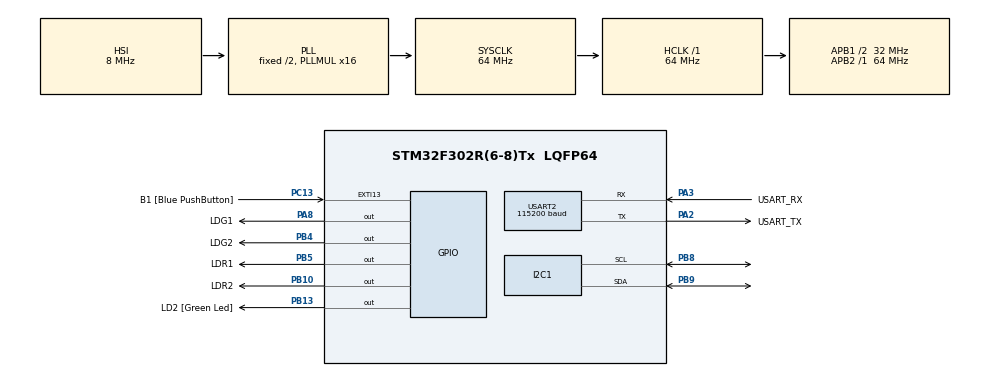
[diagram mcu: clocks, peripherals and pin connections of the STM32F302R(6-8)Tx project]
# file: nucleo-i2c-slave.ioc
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Dma.Request0=USART2_RX
Dma.USART2_RX.0.Direction=DMA_PERIPH_TO_MEMORY
Dma.USART2_RX.0.Instance=DMA1_Channel6
Dma.USART2_RX.0.MemDataAlignment=DMA_MDATAALIGN_BYTE
Dma.USART2_RX.0.MemInc=DMA_MINC_ENABLE
Dma.USART2_RX.0.Mode=DMA_CIRCULAR
Dma.USART2_RX.0.PeriphDataAlignment=DMA_PDATAALIGN_BYTE
Dma.USART2_RX.0.PeriphInc=DMA_PINC_DISABLE
Dma.USART2_RX.0.Priority=DMA_PRIORITY_MEDIUM
I2C1.OwnAddress=0x20
Mcu.Family=STM32F3
Mcu.Name=STM32F302R(6-8)Tx
Mcu.Package=LQFP64
NVIC.DMA1_Channel6_IRQn=true\:0\:0\:false\:false\:true\:false\:true
NVIC.EXTI15_10_IRQn=true\:0\:0\:false\:false\:true\:true\:true
NVIC.I2C1_ER_IRQn=true\:0\:0\:false\:false\:true\:true\:true
NVIC.I2C1_EV_IRQn=true\:0\:0\:false\:false\:true\:true\:true
NVIC.PriorityGroup=NVIC_PRIORITYGROUP_0
PA13.GPIO_Label=TMS
PA13.Mode=Serial_Wire
PA13.Signal=SYS_JTMS-SWDIO
PA14.GPIO_Label=TCK
PA14.Mode=Serial_Wire
PA14.Signal=SYS_JTCK-SWCLK
PA2.GPIO_Label=USART_TX
PA2.GPIO_Mode=GPIO_MODE_AF_PP
PA2.GPIO_PuPd=GPIO_NOPULL
PA2.GPIO_Speed=GPIO_SPEED_FREQ_LOW
PA2.Mode=Asynchronous
PA2.Signal=USART2_TX
PA3.GPIO_Label=USART_RX
PA3.GPIO_Mode=GPIO_MODE_AF_PP
PA3.GPIO_PuPd=GPIO_NOPULL
PA3.GPIO_Speed=GPIO_SPEED_FREQ_LOW
PA3.Mode=Asynchronous
PA3.Signal=USART2_RX
PA8.GPIO_Label=LDG1
PA8.Signal=GPIO_Output
PB10.GPIO_Label=LDR2
PB10.Signal=GPIO_Output
PB13.GPIO_Label=LD2 [Green Led]
PB13.Signal=GPIO_Output
PB3.GPIO_Label=SWO
PB3.Mode=Trace_Asynchronous_SW
PB3.Signal=SYS_JTDO-TRACESWO
PB4.GPIO_Label=LDG2
PB4.Signal=GPIO_Output
PB5.GPIO_Label=LDR1
PB5.Signal=GPIO_Output
PB8.GPIO_FM8=__NULL
PB8.Mode=I2C
PB8.Signal=I2C1_SCL
PB9.GPIO_FM9=__NULL
PB9.Mode=I2C
PB9.Signal=I2C1_SDA
PC13.GPIO_Label=B1 [Blue PushButton]
PC13.GPIO_ModeDefaultEXTI=GPIO_MODE_IT_FALLING
PC13.Signal=GPXTI13
PC14\ -\ OSC32_IN.Mode=LSE-External-Oscillator
PC14\ -\ OSC32_IN.Signal=RCC_OSC32_IN
PC15\ -\ OSC32_OUT.Mode=LSE-External-Oscillator
PC15\ -\ OSC32_OUT.Signal=RCC_OSC32_OUT
PF0-OSC_IN.Mode=HSE-External-Clock-Source
PF0-OSC_IN.Signal=RCC_OSC_IN
PF1-OSC_OUT.Signal=RCC_OSC_OUT
ProjectManager.HeapSize=0x200
ProjectManager.StackSize=0x400
ProjectManager.TargetToolchain=STM32CubeIDE
RCC.AHBFreq_Value=64000000
RCC.APB1CLKDivider=RCC_HCLK_DIV2
RCC.APB1Freq_Value=32000000
RCC.APB1TimFreq_Value=64000000
RCC.APB2Freq_Value=64000000
RCC.APB2TimFreq_Value=64000000
RCC.CortexFreq_Value=64000000
RCC.HCLKFreq_Value=64000000
RCC.HSE_VALUE=8000000
RCC.HSI_VALUE=8000000
RCC.PLLM=8
RCC.PLLMUL=RCC_PLL_MUL16
RCC.PLLN=336
RCC.PLLP=RCC_PLLP_DIV4
RCC.PLLQ=7
RCC.RCC_PLLsource_Clock_Source_FROM_HSE=RCC_HSE_PREDIV_DIV2
RCC.SYSCLKFreq_VALUE=64000000
RCC.SYSCLKSourceVirtual=RCC_SYSCLKSOURCE_PLLCLK
RCC.USBFreq_Value=64000000
USART2.BaudRate=115200
USART2.VirtualMode-Asynchronous=VM_ASYNC
board=NUCLEO-F302R8

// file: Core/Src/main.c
/* USER CODE BEGIN Header */
/**
  ******************************************************************************
  * @file           : main.c
  * @brief          : Main program body
  ******************************************************************************
  * @attention
  *
  * <h2><center>&copy; Copyright (c) 2023 STMicroelectronics.
  * All rights reserved.</center></h2>
  *
  * This software component is licensed by ST under BSD 3-Clause license,
  * the "License"; You may not use this file except in compliance with the
  * License. You may obtain a copy of the License at:
  *                        opensource.org/licenses/BSD-3-Clause
  *
  ******************************************************************************
  */
/* USER CODE END Header */
#include "main.h"

/* USER CODE BEGIN PD */
#define WHO_AM_I 0x10
#define OUT_X_L 0x21
#define OUT_X_H 0x22
#define OUT_Y_L 0x23
#define OUT_Y_H 0x24
#define OUT_Z_L 0x25
#define OUT_Z_H 0x26
#define OUT_TEMP_L 0x27
#define OUT_TEMP_H 0x28
#define SLAVE_WORKING
//#define SLAVE_EXPERIMENT

/* USER CODE END PD */

I2C_HandleTypeDef hi2c1;

UART_HandleTypeDef huart2;
DMA_HandleTypeDef hdma_usart2_rx;

void SystemClock_Config(void);
static void MX_GPIO_Init(void);
static void MX_DMA_Init(void);
static void MX_USART2_UART_Init(void);
static void MX_I2C1_Init(void);

/* USER CODE BEGIN 0 */
uint8_t AddrToData(uint8_t receive_addr);
uint8_t data_tx = 0xf8;
uint8_t uart_rx_buff[];
uint8_t receive_buff = 0;

volatile uint8_t transferRequested = 0;
volatile uint8_t transferDirection;
volatile uint16_t adc_raw_value = 0;
volatile uint8_t firstByteTransmitted = 0;
volatile uint8_t uartRxComplete = 0;

volatile uint8_t offset = 0;
volatile uint8_t slaveTxComplete = 0;

volatile uint8_t accXL = 0;
volatile uint8_t accXH = 0;
volatile uint8_t accYL = 0;
volatile uint8_t accYH = 0;
volatile uint8_t accZL = 0;
volatile uint8_t accZH = 0;

/* USER CODE END 0 */

int main(void)
{

  /* MCU Configuration--------------------------------------------------------*/

  /* Reset of all peripherals, Initializes the Flash interface and the Systick. */
  HAL_Init();

  /* Configure the system clock */
  SystemClock_Config();

  /* Initialize all configured peripherals */
  MX_GPIO_Init();
  MX_DMA_Init();
  MX_USART2_UART_Init();
  MX_I2C1_Init();
  /* USER CODE BEGIN 2 */

  // Receive 6 bytes to trigger UART Handler
  HAL_UART_Receive_DMA(&huart2, uart_rx_buff, 6);
  HAL_I2C_EnableListen_IT(&hi2c1);

  /* USER CODE END 2 */

  /* Infinite loop */
  while (1)
  {

    /* USER CODE BEGIN 3 */
	if (slaveTxComplete)
	{
		offset++;
		data_tx = AddrToData(receive_buff + offset);
		HAL_I2C_Slave_Seq_Transmit_IT(&hi2c1, &data_tx, 1, I2C_NEXT_FRAME); // sends the subsequent byte
		slaveTxComplete = 0;

	}

	if (transferRequested)
	{
		// master -> slave
		if(transferDirection  == I2C_DIRECTION_TRANSMIT)
		{
			HAL_I2C_Slave_Seq_Receive_IT(&hi2c1, &receive_buff, 1, I2C_NEXT_FRAME); // receives the starting register address
		}
		// slave -> master
		else
		{
			data_tx = AddrToData(receive_buff);
			HAL_I2C_Slave_Seq_Transmit_IT(&hi2c1, &data_tx, 1, I2C_NEXT_FRAME); // sends the first byte
			slaveTxComplete = 0;
		}
		transferRequested = 0;
	}

	if (uartRxComplete){
		// Get the received simulated values
		accXL = uart_rx_buff[0];
		accXH = uart_rx_buff[1];
		accYL = uart_rx_buff[2];
		accYH = uart_rx_buff[3];
		accZL = uart_rx_buff[4];
		accZH = uart_rx_buff[5];

		uartRxComplete = 0;
	}
  }
  /* USER CODE END 3 */
}

void SystemClock_Config(void)
{
  RCC_OscInitTypeDef RCC_OscInitStruct = {0};
  RCC_ClkInitTypeDef RCC_ClkInitStruct = {0};
  RCC_PeriphCLKInitTypeDef PeriphClkInit = {0};

  /** Initializes the RCC Oscillators according to the specified parameters
  * in the RCC_OscInitTypeDef structure.
  */
  RCC_OscInitStruct.OscillatorType = RCC_OSCILLATORTYPE_HSI;
  RCC_OscInitStruct.HSIState = RCC_HSI_ON;
  RCC_OscInitStruct.HSICalibrationValue = RCC_HSICALIBRATION_DEFAULT;
  RCC_OscInitStruct.PLL.PLLState = RCC_PLL_ON;
  RCC_OscInitStruct.PLL.PLLSource = RCC_PLLSOURCE_HSI;
  RCC_OscInitStruct.PLL.PLLMUL = RCC_PLL_MUL16;
  if (HAL_RCC_OscConfig(&RCC_OscInitStruct) != HAL_OK)
  {
    Error_Handler();
  }
  /** Initializes the CPU, AHB and APB buses clocks
  */
  RCC_ClkInitStruct.ClockType = RCC_CLOCKTYPE_HCLK|RCC_CLOCKTYPE_SYSCLK
                              |RCC_CLOCKTYPE_PCLK1|RCC_CLOCKTYPE_PCLK2;
  RCC_ClkInitStruct.SYSCLKSource = RCC_SYSCLKSOURCE_PLLCLK;
  RCC_ClkInitStruct.AHBCLKDivider = RCC_SYSCLK_DIV1;
  RCC_ClkInitStruct.APB1CLKDivider = RCC_HCLK_DIV2;
  RCC_ClkInitStruct.APB2CLKDivider = RCC_HCLK_DIV1;

  if (HAL_RCC_ClockConfig(&RCC_ClkInitStruct, FLASH_LATENCY_2) != HAL_OK)
  {
    Error_Handler();
  }
  PeriphClkInit.PeriphClockSelection = RCC_PERIPHCLK_I2C1;
  PeriphClkInit.I2c1ClockSelection = RCC_I2C1CLKSOURCE_HSI;
  if (HAL_RCCEx_PeriphCLKConfig(&PeriphClkInit) != HAL_OK)
  {
    Error_Handler();
  }
}

static void MX_I2C1_Init(void)
{

  hi2c1.Instance = I2C1;
  hi2c1.Init.Timing = 0x2000090E;
  hi2c1.Init.OwnAddress1 = 64;
  hi2c1.Init.AddressingMode = I2C_ADDRESSINGMODE_7BIT;
  hi2c1.Init.DualAddressMode = I2C_DUALADDRESS_DISABLE;
  hi2c1.Init.OwnAddress2 = 0;
  hi2c1.Init.OwnAddress2Masks = I2C_OA2_NOMASK;
  hi2c1.Init.GeneralCallMode = I2C_GENERALCALL_DISABLE;
  hi2c1.Init.NoStretchMode = I2C_NOSTRETCH_DISABLE;
  if (HAL_I2C_Init(&hi2c1) != HAL_OK)
  {
    Error_Handler();
  }
  /** Configure Analogue filter
  */
  if (HAL_I2CEx_ConfigAnalogFilter(&hi2c1, I2C_ANALOGFILTER_ENABLE) != HAL_OK)
  {
    Error_Handler();
  }
  /** Configure Digital filter
  */
  if (HAL_I2CEx_ConfigDigitalFilter(&hi2c1, 0) != HAL_OK)
  {
    Error_Handler();
  }

}

static void MX_USART2_UART_Init(void)
{

  huart2.Instance = USART2;
  huart2.Init.BaudRate = 115200;
  huart2.Init.WordLength = UART_WORDLENGTH_8B;
  huart2.Init.StopBits = UART_STOPBITS_1;
  huart2.Init.Parity = UART_PARITY_NONE;
  huart2.Init.Mode = UART_MODE_TX_RX;
  huart2.Init.HwFlowCtl = UART_HWCONTROL_NONE;
  huart2.Init.OverSampling = UART_OVERSAMPLING_16;
  huart2.Init.OneBitSampling = UART_ONE_BIT_SAMPLE_DISABLE;
  huart2.AdvancedInit.AdvFeatureInit = UART_ADVFEATURE_NO_INIT;
  if (HAL_UART_Init(&huart2) != HAL_OK)
  {
    Error_Handler();
  }

}

static void MX_DMA_Init(void)
{

  /* DMA controller clock enable */
  __HAL_RCC_DMA1_CLK_ENABLE();

  /* DMA interrupt init */
  /* DMA1_Channel6_IRQn interrupt configuration */
  HAL_NVIC_SetPriority(DMA1_Channel6_IRQn, 0, 0);
  HAL_NVIC_EnableIRQ(DMA1_Channel6_IRQn);

}

static void MX_GPIO_Init(void)
{
  GPIO_InitTypeDef GPIO_InitStruct = {0};

  /* GPIO Ports Clock Enable */
  __HAL_RCC_GPIOC_CLK_ENABLE();
  __HAL_RCC_GPIOF_CLK_ENABLE();
  __HAL_RCC_GPIOA_CLK_ENABLE();
  __HAL_RCC_GPIOB_CLK_ENABLE();

  /*Configure GPIO pin Output Level */
  HAL_GPIO_WritePin(GPIOB, LDR2_Pin|LD2_Pin|LDG2_Pin|LDR1_Pin, GPIO_PIN_RESET);

  /*Configure GPIO pin Output Level */
  HAL_GPIO_WritePin(LDG1_GPIO_Port, LDG1_Pin, GPIO_PIN_RESET);

  /*Configure GPIO pin : B1_Pin */
  GPIO_InitStruct.Pin = B1_Pin;
  GPIO_InitStruct.Mode = GPIO_MODE_IT_FALLING;
  GPIO_InitStruct.Pull = GPIO_NOPULL;
  HAL_GPIO_Init(B1_GPIO_Port, &GPIO_InitStruct);

  /*Configure GPIO pins : LDR2_Pin LD2_Pin LDG2_Pin LDR1_Pin */
  GPIO_InitStruct.Pin = LDR2_Pin|LD2_Pin|LDG2_Pin|LDR1_Pin;
  GPIO_InitStruct.Mode = GPIO_MODE_OUTPUT_PP;
  GPIO_InitStruct.Pull = GPIO_NOPULL;
  GPIO_InitStruct.Speed = GPIO_SPEED_FREQ_LOW;
  HAL_GPIO_Init(GPIOB, &GPIO_InitStruct);

  /*Configure GPIO pin : LDG1_Pin */
  GPIO_InitStruct.Pin = LDG1_Pin;
  GPIO_InitStruct.Mode = GPIO_MODE_OUTPUT_PP;
  GPIO_InitStruct.Pull = GPIO_NOPULL;
  GPIO_InitStruct.Speed = GPIO_SPEED_FREQ_LOW;
  HAL_GPIO_Init(LDG1_GPIO_Port, &GPIO_InitStruct);

  /* EXTI interrupt init*/
  HAL_NVIC_SetPriority(EXTI15_10_IRQn, 0, 0);
  HAL_NVIC_EnableIRQ(EXTI15_10_IRQn);

}

/* USER CODE BEGIN 4 */

#ifdef SLAVE_WORKING

// Triggered when START and Repeated Start is transmitted by master
void HAL_I2C_AddrCallback(I2C_HandleTypeDef *hi2c, uint8_t TransferDirection, uint16_t AddrMatchCode)
{
	transferRequested = 1;
	transferDirection = TransferDirection;
}

void HAL_I2C_SlaveRxCpltCallback(I2C_HandleTypeDef *hi2c)
{

}

// Triggered when slave completes transmitting data to master (and master ACK it)
void HAL_I2C_SlaveTxCpltCallback(I2C_HandleTypeDef *hi2c)
{
	slaveTxComplete = 1;
}

void HAL_I2C_ErrorCallback(I2C_HandleTypeDef *hi2c)
{
	if( HAL_I2C_GetError(hi2c) != HAL_I2C_ERROR_AF )
	{
		HAL_I2C_GetError(hi2c);
	}
}

void HAL_I2C_ListenCpltCallback(I2C_HandleTypeDef *hi2c)
{
	HAL_I2C_EnableListen_IT(hi2c);
	offset = 0;

}

void HAL_I2C_AbortCpltCallback(I2C_HandleTypeDef *hi2c)
{

}

void HAL_UART_RxCpltCallback(UART_HandleTypeDef *huart){

	UNUSED(huart);
	uartRxComplete = 1;
	// HAL_UART_Transmit(&huart2, uart_rx_buff, 6, HAL_MAX_DELAY);
}

uint8_t AddrToData(uint8_t receive_addr){
	uint8_t data = 0;
	switch (receive_addr){
				case WHO_AM_I:
					data = 0xEE;
					break;
				case OUT_X_L:
					data = accXL + (rand() % 4);
					break;
				case OUT_X_H:
					data = accXH + (rand() % 4);
					break;
				case OUT_Y_L:
					data = accYL + (rand() % 4);
					break;
				case OUT_Y_H:
					data = accYH + (rand() % 4);
					break;
				case OUT_Z_L:
					data = accZL + (rand() % 4);
					break;
				case OUT_Z_H:
					data = accZH + (rand() % 4);
					break;
				default:
					data = 0xff;
					break;
	}
	return data;
}

#else SLAVE_EXPERIMENT

#endif

/* USER CODE END 4 */

void Error_Handler(void)
{
  __disable_irq();
  while (1)
  {
  }
}

/************************ (C) COPYRIGHT STMicroelectronics *****END OF FILE****/
